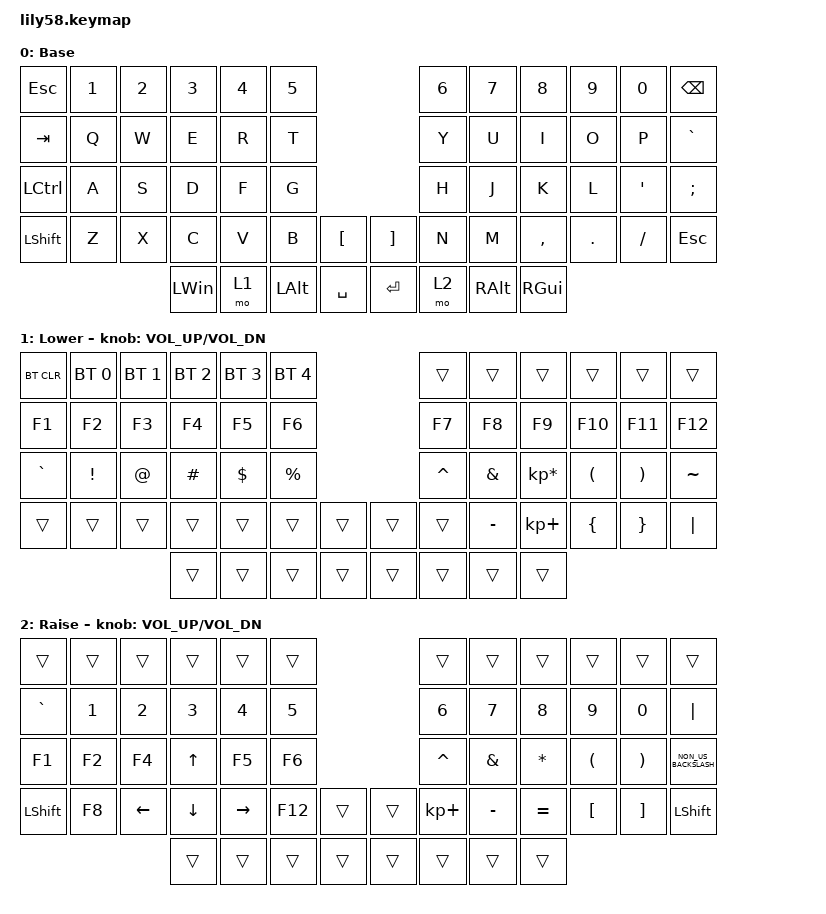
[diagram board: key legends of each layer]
/*
 * Copyright (c) 2020 The ZMK Contributors
 *
 * SPDX-License-Identifier: MIT
 */

#include <behaviors.dtsi>
#include <dt-bindings/zmk/bt.h>
#include <dt-bindings/zmk/keys.h>

/ {
    keymap {
        compatible = "zmk,keymap";

        default_layer {
            // ------------------------------------------------------------------------------------------------------------
            // |  ESC  |  1  |  2  |  3   |  4   |  5   |                   |  6   |  7    |  8    |  9   |   0   |   `   |
            // |  TAB  |  Q  |  W  |  E   |  R   |  T   |                   |  Y   |  U    |  I    |  O   |   P   |   -   |
            // |  CTRL |  A  |  S  |  D   |  F   |  G   |                   |  H   |  J    |  K    |  L   |   ;   |   '   |
            // | SHIFT |  Z  |  X  |  C   |  V   |  B   |   "["  |  |  "]"  |  N   |  M    |  ,    |  .   |   /   | SHIFT |
            //                     | ALT  | GUI  | LOWER|  SPACE |  | ENTER | RAISE| BSPC  | GUI   |

            display-name = "Base";
            bindings = <
&kp ESC    &kp N1  &kp N2  &kp N3        &kp N4  &kp N5                               &kp N6  &kp N7         &kp N8     &kp N9   &kp N0            &kp BACKSPACE
&kp TAB    &kp Q   &kp W   &kp E         &kp R   &kp T                                &kp Y   &kp U          &kp I      &kp O    &kp P             &kp GRAVE
&kp LCTRL  &kp A   &kp S   &kp D         &kp F   &kp G                                &kp H   &kp J          &kp K      &kp L    &kp SINGLE_QUOTE  &kp SEMICOLON
&kp LSHFT  &kp Z   &kp X   &kp C         &kp V   &kp B         &kp LBKT     &kp RBKT  &kp N   &kp M          &kp COMMA  &kp DOT  &kp FSLH          &kp ESCAPE
                           &kp LEFT_WIN  &mo 1   &kp LEFT_ALT  &kp SPACE    &kp RET   &mo 2   &kp RIGHT_ALT  &kp RGUI
            >;
        };

        lower_layer {
            // ------------------------------------------------------------------------------------------------------------
            // | BTCLR | BT1 | BT2 |  BT3 |  BT4 |  BT5 |                   |      |       |       |      |       |       |
            // |  F1   |  F2 |  F3 |  F4  |  F5  |  F6  |                   |  F7  |  F8   |  F9   |  F10 |  F11  |  F12  |
            // |   `   |  !  |  @  |  #   |  $   |  %   |                   |  ^   |  &    |  *    |  (   |   )   |   ~   |
            // |       |     |     |      |      |      |        |  |       |      |  _    |  +    |  {   |   }   |  "|"  |
            //                     |      |      |      |        |  |       |      |       |       |

            display-name = "Lower";
            bindings = <
&bt BT_CLR  &bt BT_SEL 0  &bt BT_SEL 1  &bt BT_SEL 2  &bt BT_SEL 3  &bt BT_SEL 4                    &trans     &trans     &trans           &trans    &trans    &trans
&kp F1      &kp F2        &kp F3        &kp F4        &kp F5        &kp F6                          &kp F7     &kp F8     &kp F9           &kp F10   &kp F11   &kp F12
&kp GRAVE   &kp EXCL      &kp AT        &kp HASH      &kp DOLLAR    &kp PRCNT                       &kp CARET  &kp AMPS   &kp KP_MULTIPLY  &kp LPAR  &kp RPAR  &kp TILDE
&trans      &trans        &trans        &trans        &trans        &trans        &trans    &trans  &trans     &kp MINUS  &kp KP_PLUS      &kp LBRC  &kp RBRC  &kp PIPE
                                        &trans        &trans        &trans        &trans    &trans  &trans     &trans     &trans
            >;

            sensor-bindings = <&inc_dec_kp C_VOL_UP C_VOL_DN>;
        };

        raise_layer {
            // ------------------------------------------------------------------------------------------------------------
            // |       |     |     |      |      |      |                   |      |       |       |      |       |       |
            // |   `   |  1  |  2  |  3   |  4   |  5   |                   |  6   |   7   |   8   |  9   |   0   |       |
            // |   F1  |  F2 |  F3 |  F4  |  F5  |  F6  |                   |      |   <-  |   v   |  ^   |  ->   |       |
            // |   F7  |  F8 |  F9 |  F10 |  F11 |  F12 |        |  |       |  +   |   -   |   =   |  [   |   ]   |   \   |
            //                     |      |      |      |        |  |       |      |       |       |

            display-name = "Raise";
            bindings = <
&trans          &trans  &trans    &trans        &trans     &trans                     &trans       &trans         &trans        &trans                &trans                 &trans
&kp GRAVE       &kp N1  &kp N2    &kp N3        &kp N4     &kp N5                     &kp N6       &kp N7         &kp N8        &kp N9                &kp N0                 &kp PIPE
&kp F1          &kp F2  &kp F4    &kp UP_ARROW  &kp F5     &kp F6                     &kp CARET    &kp AMPERSAND  &kp ASTERISK  &kp LEFT_PARENTHESIS  &kp RIGHT_PARENTHESIS  &kp NON_US_BACKSLASH
&kp LEFT_SHIFT  &kp F8  &kp LEFT  &kp DOWN      &kp RIGHT  &kp F12  &trans    &trans  &kp KP_PLUS  &kp MINUS      &kp EQUAL     &kp LBKT              &kp RBKT               &kp LEFT_SHIFT
                                  &trans        &trans     &trans   &trans    &trans  &trans       &trans         &trans
            >;

            sensor-bindings = <&inc_dec_kp C_VOL_UP C_VOL_DN>;
        };

        extra_1 { status = "reserved"; };

        extra_2 { status = "reserved"; };

        extra_3 { status = "reserved"; };
    };
};
